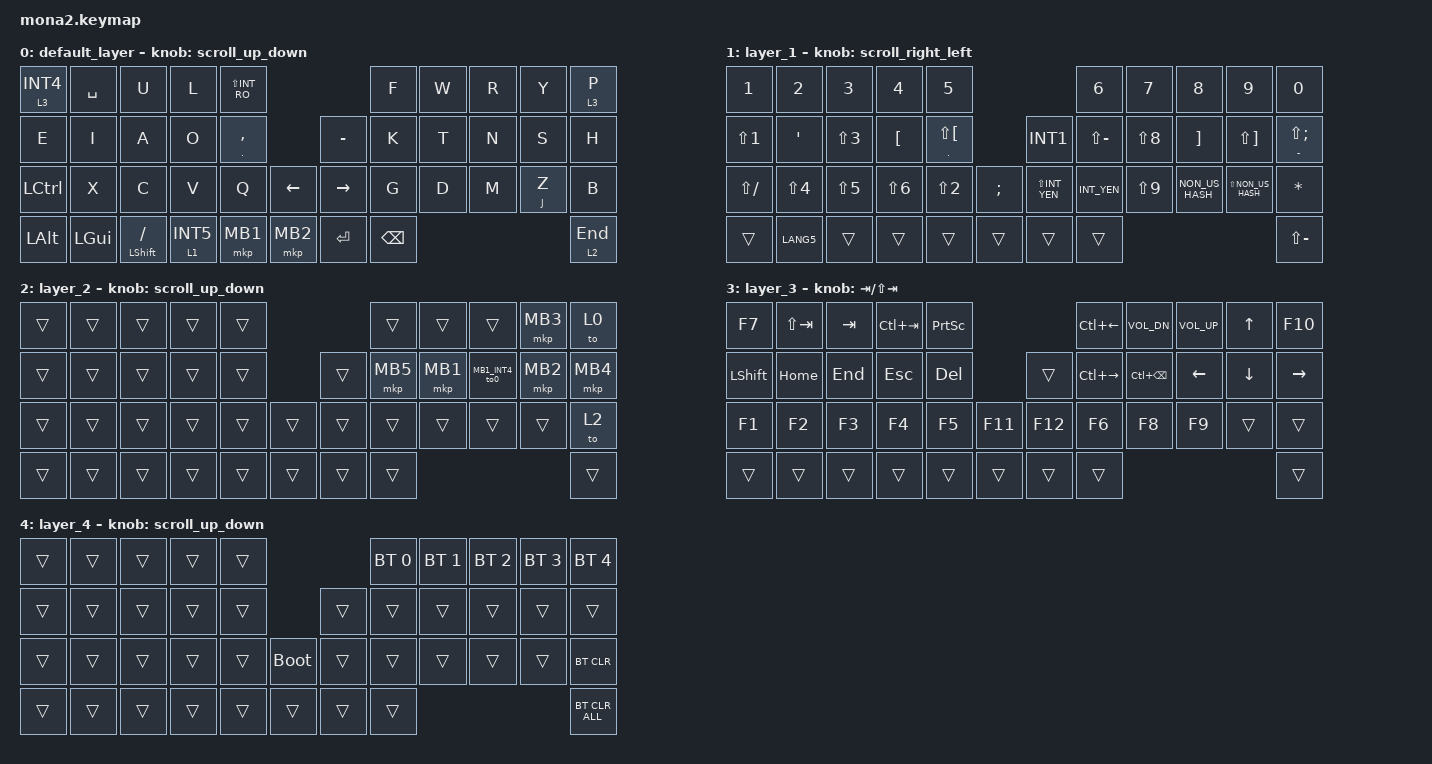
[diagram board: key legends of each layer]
#include <input/processors.dtsi>
#include <dt-bindings/zmk/input_transform.h>
#include <zephyr/dt-bindings/input/input-event-codes.h>
#include <behaviors.dtsi>
#include <dt-bindings/zmk/bt.h>
#include <dt-bindings/zmk/keys.h>
#include <dt-bindings/zmk/pointing.h>

#undef ZMK_POINTING_DEFAULT_SCRL_VAL
#define ZMK_POINTING_DEFAULT_SCRL_VAL 100

&mt {
    flavor = "balanced";
    quick-tap-ms = <0>;
};

&lt {
    quick-tap-ms = <300>;
    flavor = "balanced";
};

/ {
    combos {
        compatible = "zmk,combos";

        layer4_ESC {
            bindings = <&lt 4 ESC>;
            key-positions = <39 38>;
        };

        tab {
            bindings = <&kp TAB>;
            key-positions = <11 12>;
        };
    };

    behaviors {
        custom_ht: custom_hold_tap {
            compatible = "zmk,behavior-hold-tap";
            #binding-cells = <2>;
            flavor = "tap-preferred";
            tapping-term-ms = <200>;
            bindings = <&kp>, <&kp>;
        };

        // ▼ 追加：長押しでLayer移動(&mo)、タップでLayer固定切替(&to)を行うカスタム設定
        mo_to: behavior_mo_to {
            compatible = "zmk,behavior-hold-tap";
            #binding-cells = <2>;
            flavor = "tap-preferred";
            tapping-term-ms = <200>;
            bindings = <&mo>, <&to>;
        };

        scroll_up_down: mouse_wheel_up_down {
            compatible = "zmk,behavior-sensor-rotate";
            #sensor-binding-cells = <0>;
            bindings = <&msc SCRL_DOWN>, <&msc SCRL_UP>;
            tap-ms = <20>;
        };

        scroll_right_left: mouse_wheel_right_left {
            compatible = "zmk,behavior-sensor-rotate";
            #sensor-binding-cells = <0>;
            bindings = <&msc SCRL_LEFT>, <&msc SCRL_RIGHT>;
            tap-ms = <20>;
        };
    };

    macros {
        MB1_INT4_to0: MB1_INT4_to0 {
            compatible = "zmk,behavior-macro";
            #binding-cells = <0>;
            wait-ms = <30>;
            tap-ms = <30>;
            bindings = <&mkp MB1>, <&kp INT4>, <&to 0>;
        };
    };

    keymap {
        compatible = "zmk,keymap";

        default_layer {
            bindings = <
&lt 3 INT4        &kp SPACE         &kp U                 &kp L        &kp LS(INT_RO)                               &kp F          &kp W  &kp R  &kp Y    &lt 3 P
&kp E             &kp I             &kp A                 &kp O        &custom_ht PERIOD COMMA                 &kp MINUS  &kp K          &kp T  &kp N  &kp S    &kp H
&kp LEFT_CONTROL  &kp X             &kp C                 &kp V        &kp Q               &kp LEFT            &kp RIGHT  &kp G          &kp D  &kp M  &custom_ht J Z  &kp B
&kp LALT          &kp LGUI          &mt LSHIFT SLASH      &lt 1 INT5   &mkp MB1            &mkp MB2            &kp ENTER  &kp BACKSPACE                           &lt 2 END
            >;
            sensor-bindings = <&scroll_up_down>;
        };

        layer_1 {
            bindings = <
&kp N1            &kp N2            &kp N3             &kp N4            &kp N5                                                  &kp N6             &kp N7         &kp N8           &kp N9               &kp N0
&kp LS(N1)        &kp SQT           &kp LS(N3)         &kp LBKT          &custom_ht PERIOD LS(LBKT)         &kp INT1             &kp LS(MINUS)      &kp LS(N8)     &kp RBKT         &kp LS(RBKT)         &custom_ht MINUS LS(SEMI)
&kp LS(SLASH)     &kp LS(N4)        &kp LS(N5)         &kp LS(N6)        &kp LS(N2)       &kp SEMI          &kp LS(INT_YEN)      &kp INT_YEN        &kp LS(N9)     &kp NON_US_HASH  &kp LS(NON_US_HASH)  &kp ASTERISK
&trans            &kp LANG5         &trans             &trans            &trans           &trans            &trans               &trans                                                                  &kp LS(MINUS)
            >;
            sensor-bindings = <&scroll_right_left>;
        };

        layer_2 {
            bindings = <
// ▼ 右上を &mo_to 3 0 (長押しでL3、タップでL0へ) に変更
&trans  &trans  &trans  &trans  &trans                                 &trans    &trans    &trans    &mkp MB3       &to 0
&trans  &trans  &trans  &trans  &trans            &trans    &mkp MB5   &mkp MB1  &MB1_INT4_to0  &mkp MB2  &mkp MB4
&trans  &trans  &trans  &trans  &trans  &trans    &trans    &trans     &trans    &trans         &trans    &to 2
&trans  &trans  &trans  &trans  &trans  &trans    &trans    &trans                                        &trans
            >;
            sensor-bindings = <&scroll_up_down>;
        };

        layer_3 {
            bindings = <
&kp F7   &kp LS(TAB)  &kp TAB      &kp LC(TAB)  &kp PSCRN                                      &kp LC(LEFT)  &kp C_VOL_DN  &kp C_VOL_UP  &kp UP        &kp F10
&kp LSHIFT   &kp HOME     &kp END      &kp ESCAPE  &kp DELETE           &trans    &kp LC(RIGHT)  &kp LC(BSPC)  &kp LEFT      &kp DOWN      &kp RIGHT
&kp F1  &kp F2       &kp F3       &kp F4       &kp F5     &kp F11   &kp F12   &kp F6          &kp F8        &kp F9        &trans        &trans
&trans  &trans       &trans       &trans       &trans     &trans    &trans    &trans                                                &trans
            >;
            sensor-bindings = <&inc_dec_kp TAB LS(TAB)>;
        };

        layer_4 {
            bindings = <
&trans  &trans  &trans  &trans  &trans                                 &bt BT_SEL 0  &bt BT_SEL 1  &bt BT_SEL 2  &bt BT_SEL 3  &bt BT_SEL 4
&trans  &trans  &trans  &trans  &trans            &trans        &trans        &trans        &trans        &trans        &trans
&trans  &trans  &trans  &trans  &trans  &bootloader      &trans        &trans        &trans        &trans        &trans        &bt BT_CLR
&trans  &trans  &trans  &trans  &trans  &trans    &trans        &trans                                                                    &bt BT_CLR_ALL
            >;
            sensor-bindings = <&scroll_up_down>;
        };
    };
};
